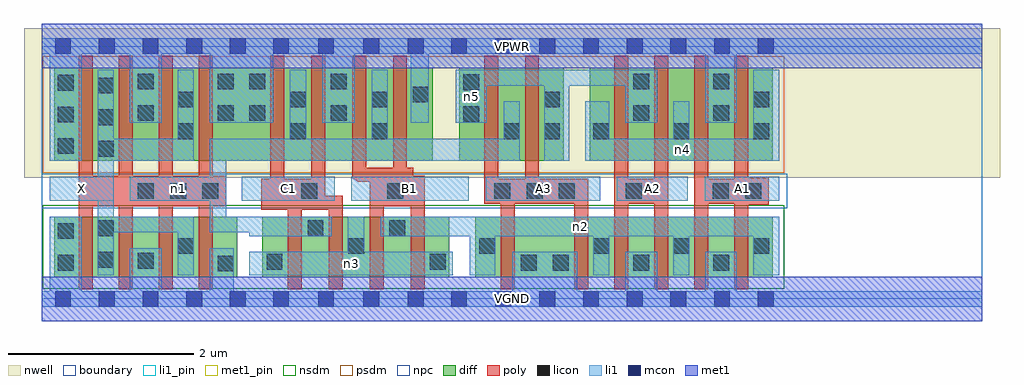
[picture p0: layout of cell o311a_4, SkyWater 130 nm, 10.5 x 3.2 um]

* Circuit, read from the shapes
.subckt o311a_4 A1 A2 A3 B1 C1 VGND VPWR X n1 n2 n3 n4 n5
XM1 X n1 VGND VSUBS sky130_fd_pr__nfet_01v8 w=0.65 l=0.15 m=4
XM2 n1 C1 n3 VSUBS sky130_fd_pr__nfet_01v8 w=0.65 l=0.15 m=2
XM3 n2 B1 n3 VSUBS sky130_fd_pr__nfet_01v8 w=0.65 l=0.15 m=2
XM4 VGND A3 n2 VSUBS sky130_fd_pr__nfet_01v8 w=0.65 l=0.15 m=2
XM5 VGND A2 n2 VSUBS sky130_fd_pr__nfet_01v8 w=0.65 l=0.15 m=2
XM6 VGND A1 n2 VSUBS sky130_fd_pr__nfet_01v8 w=0.65 l=0.15 m=2
XM7 X n1 VPWR n6 sky130_fd_pr__pfet_01v8 w=1 l=0.15 m=4
XM8 n1 C1 VPWR n6 sky130_fd_pr__pfet_01v8 w=1 l=0.15 m=2
XM9 n1 B1 VPWR n6 sky130_fd_pr__pfet_01v8 w=1 l=0.15 m=2
XM10 n1 A3 n5 n6 sky130_fd_pr__pfet_01v8 w=1 l=0.15 m=2
XM11 n5 A2 n4 n6 sky130_fd_pr__pfet_01v8 w=1 l=0.15 m=2
XM12 VPWR A1 n4 n6 sky130_fd_pr__pfet_01v8 w=1 l=0.15 m=2
.ends

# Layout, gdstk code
import gdstk
lib = gdstk.Library(unit=1e-6, precision=1e-09)
def R(c, l, rs):  # rectangles x0, y0, x1, y1
    for r in rs: c.add(gdstk.rectangle(r[:2], r[2:], *l))
def A(c, l, x, y, w, h, nx, ny, dx, dy):  # array of equal rectangles
    R(c, l, [(x+i*dx, y+j*dy, x+i*dx+w, y+j*dy+h) for i in range(nx) for j in range(ny)])
nwell = (64, 20)
diff = (65, 20)
poly = (66, 20)
licon = (66, 44)
li1_pin = (67, 16)
li1 = (67, 20)
mcon = (67, 44)
met1_pin = (68, 16)
met1 = (68, 20)
nsdm = (93, 44)
psdm = (94, 20)
npc = (95, 20)
boundary = (235, 4)

o311a_4 = lib.new_cell('o311a_4')
R(o311a_4, nwell, [(-0.19,1.305,10.31,2.91), (0,1.305,10.12,2.91)])
R(o311a_4, diff, [(0.135,0.235,2.105,0.885), (2.375,0.235,4.385,0.885), (4.665,0.235,7.865,0.885), (0.135,1.485,4.205,2.485), (4.495,1.485,5.615,2.485), (5.895,1.485,7.865,2.485)])
A(o311a_4, poly, 0.4, 0.105, 0.15, 2.51, 4, 1, 0.43, 0)
A(o311a_4, poly, 6.16, 0.105, 0.15, 2.51, 4, 1, 0.43, 0)
R(o311a_4, poly, [(2.65,0.105,2.8,1.295), (3.09,0.105,3.24,1.11), (3.53,0.105,3.68,1.41), (3.97,0.105,4.12,1.325), (4.94,0.105,5.09,1.295), (5.73,0.105,5.88,1.295), (2.36,0.96,3.05,1.295), (2.36,0.96,3.24,1.11), (2.46,0.96,2.61,2.615), (2.9,0.96,3.05,2.615), (0.4,0.995,1.985,1.325), (3.53,0.995,4.12,1.325), (3.78,0.995,3.93,2.615), (7.45,1.015,7.82,1.305), (4.76,1.025,5.88,1.295), (4.76,1.025,4.91,2.615), (5.2,1.025,5.35,2.615), (6.16,1.025,6.74,1.295), (7.02,1.025,7.82,1.295), (3.4,1.26,4.12,1.325), (3.395,1.265,4.12,1.325), (3.39,1.27,4.12,1.325), (3.38,1.275,4.12,1.325), (3.375,1.28,4.12,1.325), (3.37,1.285,4.12,1.325), (3.36,1.29,4.12,1.325), (3.35,1.295,4.12,1.325), (3.34,1.3,3.49,2.615), (3.34,1.3,4,1.41)])
A(o311a_4, licon, 5.935, 0.485, 0.17, 0.17, 3, 2, 0.86, 1.235)
A(o311a_4, licon, 0.605, 1.53, 0.17, 0.17, 1, 3, 0, 0.34)
A(o311a_4, licon, 0.175, 1.56, 0.17, 0.17, 1, 3, 0, 0.34)
R(o311a_4, licon, [(1.895,0.295,2.065,0.465), (0.175,0.305,0.345,0.475), (5.155,0.305,5.325,0.475), (5.5,0.305,5.67,0.475), (6.365,0.305,6.535,0.475), (7.225,0.305,7.395,0.475), (2.42,0.315,2.59,0.485), (4.175,0.315,4.345,0.485), (1.035,0.325,1.205,0.495), (0.605,0.335,0.775,0.505), (1.465,0.485,1.635,0.655), (3.3,0.485,3.47,0.655), (4.71,0.485,4.88,0.655), (0.175,0.645,0.345,0.815), (0.605,0.675,0.775,0.845), (2.86,0.675,3.03,0.845), (3.74,0.675,3.91,0.845), (1.035,1.075,1.205,1.245), (1.385,1.075,1.555,1.245), (1.73,1.075,1.9,1.245), (2.795,1.075,2.965,1.245), (3.72,1.075,3.89,1.245), (4.87,1.075,5.04,1.245), (5.22,1.075,5.39,1.245), (5.565,1.075,5.735,1.245), (6.285,1.075,6.455,1.245), (7.22,1.075,7.39,1.245), (7.57,1.075,7.74,1.245), (1.465,1.72,1.635,1.89), (2.67,1.72,2.84,1.89), (3.55,1.72,3.72,1.89), (4.97,1.72,5.14,1.89), (5.405,1.72,5.575,1.89), (4.535,1.905,4.705,2.075), (1.035,1.915,1.205,2.085), (1.895,1.915,2.065,2.085), (2.235,1.915,2.405,2.085), (3.11,1.915,3.28,2.085), (6.365,1.915,6.535,2.085), (7.225,1.915,7.395,2.085), (1.465,2.06,1.635,2.23), (2.67,2.06,2.84,2.23), (3.55,2.06,3.72,2.23), (5.405,2.06,5.575,2.23), (7.655,2.06,7.825,2.23), (3.99,2.115,4.16,2.285), (4.535,2.245,4.705,2.415), (1.035,2.255,1.205,2.425), (1.895,2.255,2.065,2.425), (2.235,2.255,2.405,2.425), (3.11,2.255,3.28,2.425), (6.365,2.255,6.535,2.425), (7.225,2.255,7.395,2.425)])
R(o311a_4, li1_pin, [(0.085,1.055,0.775,1.315), (2.155,1.055,3.155,1.315), (3.33,1.055,4.595,1.315), (4.78,1.055,6.01,1.315), (6.185,1.055,6.95,1.315), (7.135,1.055,7.935,1.315)])
R(o311a_4, li1, [(0,-0.085,10.12,0.085), (0.085,-0.085,0.43,0.885), (0.95,-0.085,1.29,0.545), (1.81,-0.085,2.065,0.545), (5.06,-0.085,5.76,0.505), (6.28,-0.085,6.62,0.505), (7.14,-0.085,7.48,0.505), (0.605,0.255,0.775,2.465), (1.465,0.255,1.635,0.885), (2.235,0.255,4.425,0.505), (3.295,0.255,3.47,0.885), (4.605,0.255,4.88,0.885), (5.935,0.255,6.105,0.885), (6.795,0.255,6.965,0.885), (7.655,0.255,7.935,0.885), (2.235,0.675,3.12,0.885), (3.65,0.675,7.935,0.885), (0.605,0.715,1.635,0.885), (1.81,0.715,3.12,0.885), (1.81,0.715,1.985,1.725), (0.085,1.055,0.775,1.315), (0.95,1.055,1.985,1.315), (2.155,1.055,3.155,1.315), (3.33,1.055,4.595,1.315), (4.78,1.055,6.01,1.315), (6.185,1.055,6.95,1.315), (7.135,1.055,7.935,1.315), (0.085,1.485,0.43,2.805), (0.605,1.485,1.635,1.725), (1.465,1.485,1.635,2.465), (1.81,1.485,5.145,1.725), (2.67,1.485,2.845,2.465), (3.55,1.485,3.725,2.465), (4.97,1.485,5.145,2.125), (5.405,1.485,5.675,2.465), (5.85,1.485,7.935,1.725), (5.85,1.485,6.105,2.125), (6.795,1.485,6.965,2.125), (7.655,1.485,7.935,2.465), (0.95,1.895,1.29,2.805), (1.81,1.895,2.49,2.805), (3.02,1.895,3.37,2.805), (3.97,1.895,4.165,2.805), (4.455,1.895,4.79,2.465), (6.28,1.895,6.62,2.465), (7.14,1.895,7.48,2.805), (4.455,2.295,6.62,2.465), (0,2.635,10.12,2.805)])
A(o311a_4, mcon, 0.145, -0.085, 0.17, 0.17, 5, 2, 0.47, 2.72)
A(o311a_4, mcon, 2.49, -0.085, 0.17, 0.17, 3, 2, 0.485, 2.72)
A(o311a_4, mcon, 4.405, -0.085, 0.17, 0.17, 3, 2, 0.475, 2.72)
A(o311a_4, mcon, 5.825, -0.085, 0.17, 0.17, 5, 2, 0.47, 2.72)
R(o311a_4, mcon, [(3.94,-0.085,4.11,0.085), (3.94,2.635,4.11,2.805)])
R(o311a_4, met1_pin, [(0,-0.24,10.12,0.24), (0,2.48,10.12,2.96)])
R(o311a_4, met1, [(0,-0.24,10.12,0.24), (0,2.48,10.12,2.96)])
R(o311a_4, nsdm, [(0.01,0.11,7.99,1.01)])
R(o311a_4, psdm, [(0.01,1.36,7.99,2.61)])
R(o311a_4, npc, [(0,0.975,8.02,1.345)])
R(o311a_4, boundary, [(0,0,10.12,2.72)])
o311a_4.add(gdstk.Label('A1', (7.535,1.185), layer=67, texttype=5))
o311a_4.add(gdstk.Label('A2', (6.567,1.185), layer=67, texttype=5))
o311a_4.add(gdstk.Label('A3', (5.395,1.185), layer=67, texttype=5))
o311a_4.add(gdstk.Label('B1', (3.962,1.185), layer=67, texttype=5))
o311a_4.add(gdstk.Label('C1', (2.655,1.185), layer=67, texttype=5))
o311a_4.add(gdstk.Label('X', (0.43,1.185), layer=67, texttype=5))
o311a_4.add(gdstk.Label('n3', (3.33,0.38), layer=67, texttype=5))
o311a_4.add(gdstk.Label('n2', (5.792,0.78), layer=67, texttype=5))
o311a_4.add(gdstk.Label('n1', (1.467,1.185), layer=67, texttype=5))
o311a_4.add(gdstk.Label('n5', (4.622,2.18), layer=67, texttype=5))
o311a_4.add(gdstk.Label('n4', (6.892,1.605), layer=67, texttype=5))
o311a_4.add(gdstk.Label('VPWR', (5.06,2.72), layer=68, texttype=5))
o311a_4.add(gdstk.Label('VGND', (5.06,0), layer=68, texttype=5))
o311a_4.add(gdstk.Label('A1', (7.535,1.185), layer=67, texttype=16))
o311a_4.add(gdstk.Label('A2', (6.567,1.185), layer=67, texttype=16))
o311a_4.add(gdstk.Label('A3', (5.395,1.185), layer=67, texttype=16))
o311a_4.add(gdstk.Label('B1', (3.962,1.185), layer=67, texttype=16))
o311a_4.add(gdstk.Label('C1', (2.655,1.185), layer=67, texttype=16))
o311a_4.add(gdstk.Label('X', (0.43,1.185), layer=67, texttype=16))
o311a_4.add(gdstk.Label('VPWR', (5.06,2.72), layer=68, texttype=16))
o311a_4.add(gdstk.Label('VGND', (5.06,0), layer=68, texttype=16))

lib.write_gds('o311a_4.gds')
